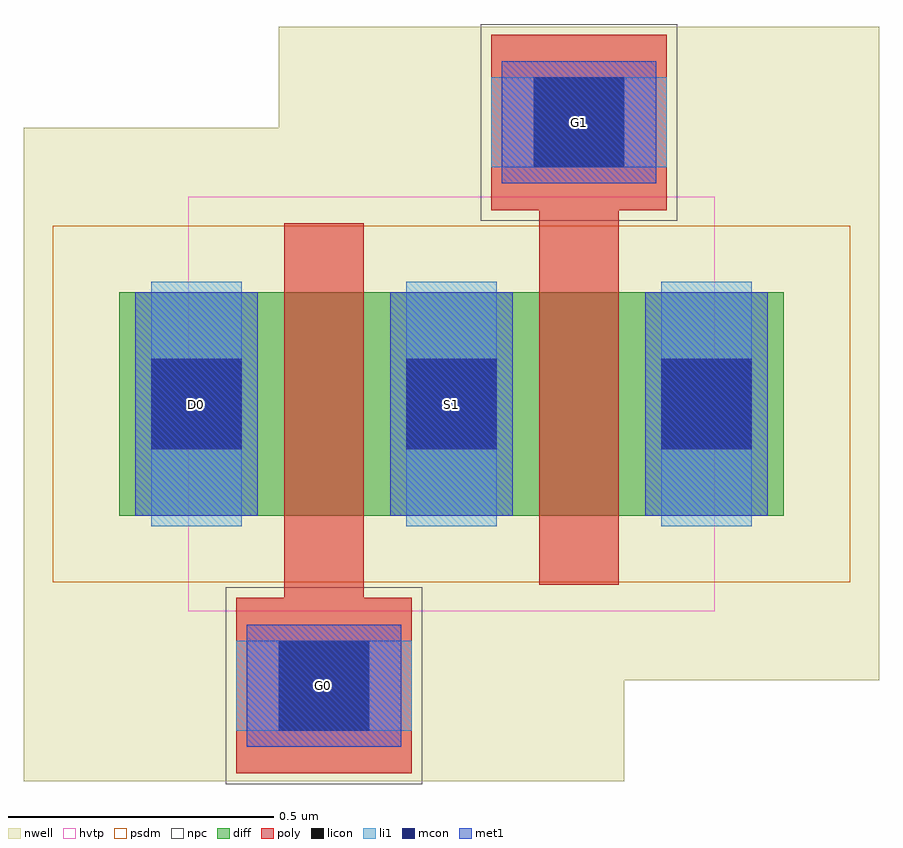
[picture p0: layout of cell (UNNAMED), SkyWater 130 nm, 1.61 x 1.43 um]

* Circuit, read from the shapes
.subckt (UNNAMED) D0 G0 G1 S1
XM1 S1 G0 D0 n1 sky130_fd_pr__pfet_01v8_hvt w=0.42 l=0.15
XM2 n2 G1 S1 n1 sky130_fd_pr__pfet_01v8_hvt w=0.42 l=0.15
.ends

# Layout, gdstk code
import gdstk
lib = gdstk.Library(unit=1e-6, precision=1e-09)
def R(c, l, rs):  # rectangles x0, y0, x1, y1
    for r in rs: c.add(gdstk.rectangle(r[:2], r[2:], *l))
def A(c, l, x, y, w, h, nx, ny, dx, dy):  # array of equal rectangles
    R(c, l, [(x+i*dx, y+j*dy, x+i*dx+w, y+j*dy+h) for i in range(nx) for j in range(ny)])
nwell = (64, 20)
diff = (65, 20)
poly = (66, 20)
licon = (66, 44)
li1 = (67, 20)
mcon = (67, 44)
met1 = (68, 20)
hvtp = (78, 44)
psdm = (94, 20)
npc = (95, 20)

c__unnamed_ = lib.new_cell('(UNNAMED)')
R(c__unnamed_, nwell, [(-0.805,-0.71,0.325,-0.52), (-0.805,-0.52,0.805,0.52), (-0.325,0.52,0.805,0.71)])
R(c__unnamed_, diff, [(-0.625,-0.21,0.625,0.21)])
R(c__unnamed_, poly, [(-0.405,-0.695,-0.075,-0.365), (-0.315,-0.365,-0.165,0.34), (0.165,-0.34,0.315,0.365), (0.075,0.365,0.405,0.695)])
A(c__unnamed_, licon, -0.565, -0.085, 0.17, 0.17, 3, 1, 0.48, 0)
R(c__unnamed_, licon, [(-0.325,-0.615,-0.155,-0.445), (0.155,0.445,0.325,0.615)])
A(c__unnamed_, li1, -0.565, -0.23, 0.17, 0.46, 3, 1, 0.48, 0)
R(c__unnamed_, li1, [(-0.405,-0.615,-0.075,-0.445), (0.075,0.445,0.405,0.615)])
A(c__unnamed_, mcon, -0.565, -0.085, 0.17, 0.17, 3, 1, 0.48, 0)
R(c__unnamed_, mcon, [(-0.325,-0.615,-0.155,-0.445), (0.155,0.445,0.325,0.615)])
A(c__unnamed_, met1, -0.595, -0.21, 0.23, 0.42, 3, 1, 0.48, 0)
R(c__unnamed_, met1, [(-0.385,-0.645,-0.095,-0.415), (0.095,0.415,0.385,0.645)])
R(c__unnamed_, hvtp, [(-0.495,-0.39,0.495,0.39)])
R(c__unnamed_, psdm, [(-0.75,-0.335,0.75,0.335)])
R(c__unnamed_, npc, [(-0.425,-0.715,-0.055,-0.345), (0.055,0.345,0.425,0.715)])
c__unnamed_.add(gdstk.Label('D0', (-0.48,0), layer=67, texttype=5))
c__unnamed_.add(gdstk.Label('G0', (-0.24,-0.53), layer=67, texttype=5))
c__unnamed_.add(gdstk.Label('S1', (0,0), layer=67, texttype=5))
c__unnamed_.add(gdstk.Label('G1', (0.24,0.53), layer=67, texttype=5))

lib.write_gds('_UNNAMED_.gds')
